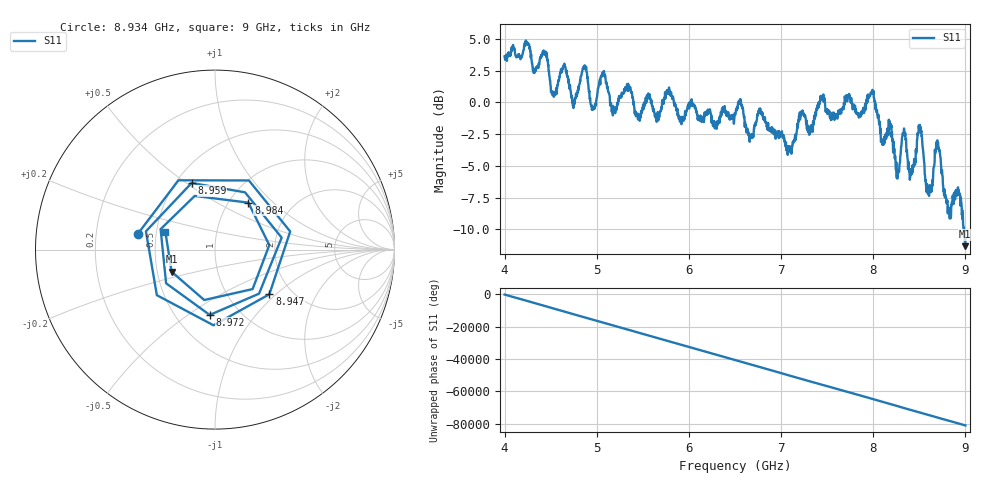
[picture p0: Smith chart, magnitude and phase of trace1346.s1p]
! Created with skrf 1.8.0 (http://scikit-rf.org).
# Hz S RI R 50.0
!freq ReS11 ImS11
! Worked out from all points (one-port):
!   1601 points, 4 GHz to 9 GHz, reference 50 ohm
!   lowest |S11| = -11.3 dB at 8.997 GHz (marker M1), VSWR 1.75, Z = 29.7 - j7.9 ohm
!   |S11| at or under -10 dB: 8.985065 GHz to end of sweep
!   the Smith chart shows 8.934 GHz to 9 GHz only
!   S11 on the Smith chart (normalised r, x): 8.934 GHz: 0.39, +0.08; 8.947 GHz: 1.54, -0.91; 8.959 GHz: 0.60, +0.52; 8.972 GHz: 0.73, -0.61; 8.984 GHz: 1.23, +0.72; 9 GHz: 0.56, +0.12
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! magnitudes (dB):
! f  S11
! 4 GHz  3.6
! 4.434 GHz  3.9
! 4.531 GHz  0.8
! 4.625 GHz  2.7
! 4.747 GHz  -0.4
! 4.862 GHz  2.9
! 4.956 GHz  -0.5
! 5.066 GHz  2.3
! 5.25 GHz  0.4
! 5.875 GHz  -0.5
! 6.5 GHz  -1.0
! 7.125 GHz  -3.2
! 7.75 GHz  0.4
! 7.988 GHz  0.9
! 8.259 GHz  -5.3
! 8.331 GHz  -2.4
! 8.375 GHz  -4.5
! 8.506 GHz  -1.8
! 8.597 GHz  -7.0
! 8.694 GHz  -3.0
! 8.819 GHz  -8.7
! 8.934 GHz  -7.1
! 8.947 GHz  -8.1
! 8.959 GHz  -8.1
! 8.972 GHz  -8.7
! 8.984 GHz  -9.9
! 8.997 GHz  -11.3
! 9 GHz  -10.7
